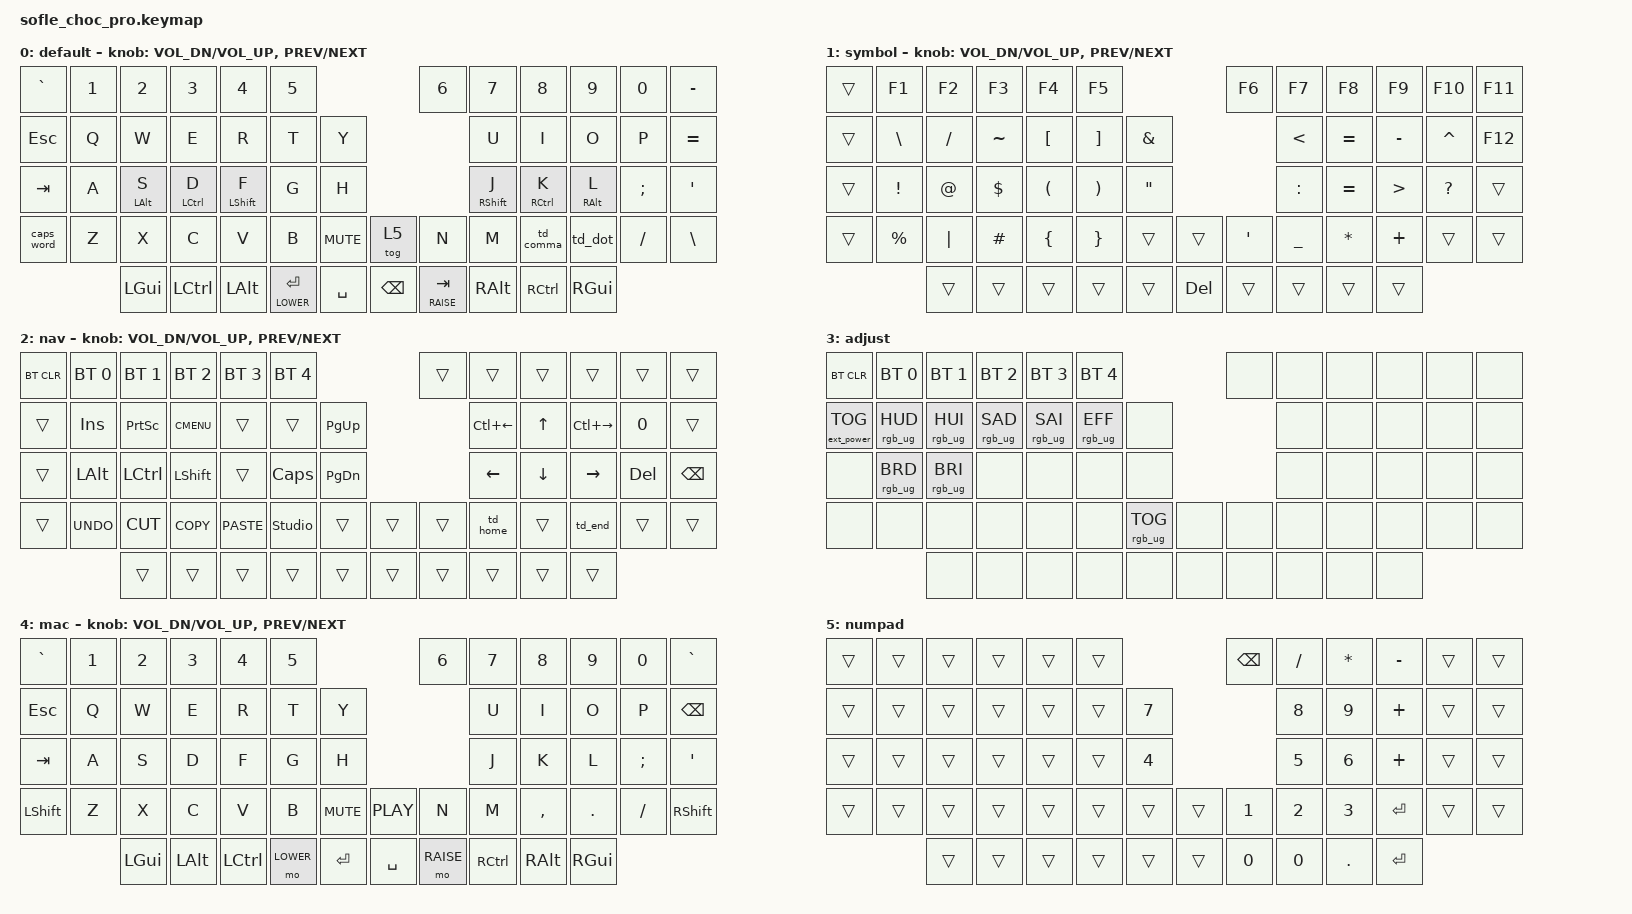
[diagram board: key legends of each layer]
/*
* Copyright (c) 2020 The ZMK Contributors
*
* SPDX-License-Identifier: MIT
*/

#include <behaviors.dtsi>
#include <dt-bindings/zmk/bt.h>
#include <dt-bindings/zmk/ext_power.h>
#include <dt-bindings/zmk/keys.h>
#include <dt-bindings/zmk/rgb.h>

#define BASE 0
#define LOWER 1
#define RAISE 2
#define ADJUST 3
#define MAC 4
#define EXTRA 5

/ {
    // Activate ADJUST layer by pressing raise and lower

    conditional_layers {
        compatible = "zmk,conditional-layers";

        adjust_layer {
            if-layers = <LOWER RAISE>;
            then-layer = <ADJUST>;
        };
    };

    macros {
        m_dot_space: m_dot_space {
            compatible = "zmk,behavior-macro";
            #binding-cells = <0>;
            bindings = <&kp DOT &kp SPACE>;
            label = "M_DOT_SPACE";
        };

        m_comma_space: m_comma_space {
            compatible = "zmk,behavior-macro";
            #binding-cells = <0>;
            bindings = <&kp COMMA &kp SPACE>;
            label = "M_COMMA_SPACE";
        };

        m_home: m_home {
            compatible = "zmk,behavior-macro";
            #binding-cells = <0>;
            bindings = <&kp LC(HOME)>;
            label = "M_HOME";
        };

        m_end: m_end {
            compatible = "zmk,behavior-macro";
            #binding-cells = <0>;
            bindings = <&kp LC(END)>;
            label = "M_END";
        };
    };

    behaviors {
        td_dot: td_dot {
            compatible = "zmk,behavior-tap-dance";
            label = "TD_DOT";
            #binding-cells = <0>;
            bindings = <&kp PERIOD>, <&m_dot_space>;
        };

        td_comma: td_comma {
            compatible = "zmk,behavior-tap-dance";
            label = "TD_COMMA";
            #binding-cells = <0>;
            bindings = <&kp PERIOD>, <&m_comma_space>;
        };

        td_home: td_home {
            compatible = "zmk,behavior-tap-dance";
            label = "TD_HOME";
            #binding-cells = <0>;
            bindings = <&kp HOME>, <&m_home>;
        };

        td_end: td_end {
            compatible = "zmk,behavior-tap-dance";
            label = "TD_END";
            #binding-cells = <0>;
            bindings = <&kp END>, <&m_end>;
        };
    };

    keymap {
        compatible = "zmk,keymap";

        default_layer {
            display-name = "default";

            // ------------------------------------------------------------------------------------------------------------
            // |   `   |  1  |  2  |  3   |  4   |  5   |                   |  6   |  7    |  8    |  9   |   0   |   `   |
            // |  ESC  |  Q  |  W  |  E   |  R   |  T   |                   |  Y   |  U    |  I    |  O   |   P   | BKSPC |
            // |  TAB  |  A  |  S  |  D   |  F   |  G   |                   |  H   |  J    |  K    |  L   |   ;   |   '   |
            // | SHIFT |  Z  |  X  |  C   |  V   |  B   |  MUTE  |  | PLAY  |  N   |  M    |  ,    |  .   |   /   | SHIFT |
            //               | GUI | ALT  | CTRL | LOWER|  ENTER |  | SPACE | RAISE| CTRL  | ALT   | GUI  |

            bindings = <
&kp GRAVE   &kp N1  &kp N2          &kp N3              &kp N4            &kp N5                                      &kp N6         &kp N7             &kp N8               &kp N9           &kp N0    &kp MINUS
&kp ESC     &kp Q   &kp W           &kp E               &kp R             &kp T            &kp Y                                     &kp U              &kp I                &kp O            &kp P     &kp EQUAL
&kp TAB     &kp A   &mt LEFT_ALT S  &mt LEFT_CONTROL D  &mt LEFT_SHIFT F  &kp G            &kp H                                     &mt RIGHT_SHIFT J  &mt RIGHT_CONTROL K  &mt RIGHT_ALT L  &kp SEMI  &kp SQT
&caps_word  &kp Z   &kp X           &kp C               &kp V             &kp B            &kp C_MUTE  &tog 5         &kp N          &kp M              &td_comma            &td_dot          &kp FSLH  &kp BACKSLASH
                    &kp LGUI        &kp LEFT_CONTROL    &kp LEFT_ALT      &lt LOWER ENTER  &kp SPACE   &kp BACKSPACE  &lt RAISE TAB  &kp RIGHT_ALT      &kp RIGHT_CONTROL    &kp RGUI
            >;

            sensor-bindings = <&inc_dec_kp C_VOL_DN C_VOL_UP &inc_dec_kp C_PREV C_NEXT>;
        };

        lower_layer {
            display-name = "symbol";

            // ------------------------------------------------------------------------------------------------------------
            // |       |  F1 |  F2 |  F3  |  F4  |  F5  |                   |  F6  |  F7   |  F8   |  F9  |  F10  |  F11  |
            // |   `   |  1  |  2  |  3   |  4   |  5   |                   |  6   |  7    |  8    |  9   |   0   |  F12  |
            // |       |  !  |  @  |  #   |  $   |  %   |                   |  ^   |  &    |  *    |  (   |   )   |   |   |
            // |       |  =  |  -  |  +   |  {   |  }   |        |  |       |  [   |  ]    |  ;    |  :   |   \   |       |
            //               |     |      |      |      |        |  |       |      |       |       |      |

            bindings = <
&trans  &kp F1         &kp F2     &kp F3      &kp F4                &kp F5                                             &kp F6            &kp F7          &kp F8     &kp F9            &kp F10       &kp F11
&trans  &kp BACKSLASH  &kp SLASH  &kp TILDE   &kp LEFT_BRACKET      &kp RIGHT_BRACKET      &kp AMPERSAND                                 &kp LESS_THAN   &kp EQUAL  &kp MINUS         &kp CARET     &kp F12
&trans  &kp EXCL       &kp AT     &kp DOLLAR  &kp LEFT_PARENTHESIS  &kp RIGHT_PARENTHESIS  &kp DOUBLE_QUOTES                             &kp COLON       &kp EQUAL  &kp GREATER_THAN  &kp QUESTION  &trans
&trans  &kp PERCENT    &kp PIPE   &kp POUND   &kp LBRC              &kp RBRC               &trans             &trans   &kp SINGLE_QUOTE  &kp UNDERSCORE  &kp ASTRK  &kp PLUS          &trans        &trans
                       &trans     &trans      &trans                &trans                 &trans             &kp DEL  &trans            &trans          &trans     &trans
            >;

            sensor-bindings = <&inc_dec_kp C_VOL_DN C_VOL_UP &inc_dec_kp C_PREV C_NEXT>;
        };

        raise_layer {
            display-name = "nav";

            // ------------------------------------------------------------------------------------------------------------
            // | BTCLR | BT1  | BT2  |  BT3  |  BT4  |  BT5 |                |      |      |       |      |       |       |
            // |       | INS  | PSCR | GUI   |       |      |                | PGUP |      |   ^   |      |       |       |
            // |       | ALT  | CTRL | SHIFT |       | CAPS |                | PGDN |   <- |   v   |  ->  |  DEL  | BKSPC |
            // |       | UNDO | CUT  | COPY  | PASTE |      |      |  |      |      |      |       |      |       |       |
            //                |      |       |       |      |      |  |      |      |      |       |      |

            bindings = <
&bt BT_CLR  &bt BT_SEL 0  &bt BT_SEL 1  &bt BT_SEL 2  &bt BT_SEL 3  &bt BT_SEL 4                       &trans  &trans        &trans    &trans         &trans   &trans
&trans      &kp INS       &kp PSCRN     &kp K_CMENU   &trans        &trans          &kp PG_UP                  &kp LC(LEFT)  &kp UP    &kp LC(RIGHT)  &kp N0   &trans
&trans      &kp LALT      &kp LCTRL     &kp LSHFT     &trans        &kp CLCK        &kp PG_DN                  &kp LEFT      &kp DOWN  &kp RIGHT      &kp DEL  &kp BSPC
&trans      &kp K_UNDO    &kp K_CUT     &kp K_COPY    &kp K_PASTE   &studio_unlock  &trans     &trans  &trans  &td_home      &trans    &td_end        &trans   &trans
                          &trans        &trans        &trans        &trans          &trans     &trans  &trans  &trans        &trans    &trans
            >;

            sensor-bindings = <&inc_dec_kp C_VOL_DN C_VOL_UP &inc_dec_kp C_PREV C_NEXT>;
        };

        adjust_layer {
            // ----------------------------------------------------------------------------------------------------------------------------
            // | BTCLR  |  BT1    |  BT2    |   BT3   |   BT4   |   BT5   |                  |      |      |       |      |       |       |
            // | EXTPWR | RGB_HUD | RGB_HUI | RGB_SAD | RGB_SAI | RGB_EFF |                  |      |      |       |      |       |       |
            // |        | RGB_BRD | RGB_BRI |         |         |         |                  |      |      |       |      |       |       |
            // |        |         |         |         |         |         | RGB_TOG | |      |      |      |       |      |       |       |
            //                    |         |         |         |         |         | |      |      |      |       |      |

            display-name = "adjust";
            bindings = <
&bt BT_CLR         &bt BT_SEL 0     &bt BT_SEL 1     &bt BT_SEL 2     &bt BT_SEL 3     &bt BT_SEL 4                             &none  &none  &none  &none  &none  &none
&ext_power EP_TOG  &rgb_ug RGB_HUD  &rgb_ug RGB_HUI  &rgb_ug RGB_SAD  &rgb_ug RGB_SAI  &rgb_ug RGB_EFF  &none                          &none  &none  &none  &none  &none
&none              &rgb_ug RGB_BRD  &rgb_ug RGB_BRI  &none            &none            &none            &none                          &none  &none  &none  &none  &none
&none              &none            &none            &none            &none            &none            &rgb_ug RGB_TOG  &none  &none  &none  &none  &none  &none  &none
                                    &none            &none            &none            &none            &none            &none  &none  &none  &none  &none
            >;
        };

        mac_layer {
            display-name = "mac";

            // ------------------------------------------------------------------------------------------------------------
            // |   `   |  1  |  2  |  3   |  4   |  5   |                   |  6   |  7    |  8    |  9   |   0   |   `   |
            // |  ESC  |  Q  |  W  |  E   |  R   |  T   |                   |  Y   |  U    |  I    |  O   |   P   | BKSPC |
            // |  TAB  |  A  |  S  |  D   |  F   |  G   |                   |  H   |  J    |  K    |  L   |   ;   |   '   |
            // | SHIFT |  Z  |  X  |  C   |  V   |  B   |  MUTE  |  | PLAY  |  N   |  M    |  ,    |  .   |   /   | SHIFT |
            //               | GUI | ALT  | CTRL | LOWER|  ENTER |  | SPACE | RAISE| CTRL  | ALT   | GUI  |

            bindings = <
&kp GRAVE  &kp N1  &kp N2    &kp N3    &kp N4     &kp N5                             &kp N6     &kp N7     &kp N8     &kp N9    &kp N0    &kp GRAVE
&kp ESC    &kp Q   &kp W     &kp E     &kp R      &kp T      &kp Y                              &kp U      &kp I      &kp O     &kp P     &kp BSPC
&kp TAB    &kp A   &kp S     &kp D     &kp F      &kp G      &kp H                              &kp J      &kp K      &kp L     &kp SEMI  &kp SQT
&kp LSHFT  &kp Z   &kp X     &kp C     &kp V      &kp B      &kp C_MUTE  &kp C_PLAY  &kp N      &kp M      &kp COMMA  &kp DOT   &kp FSLH  &kp RSHFT
                   &kp LGUI  &kp LALT  &kp LCTRL  &mo LOWER  &kp RET     &kp SPACE   &mo RAISE  &kp RCTRL  &kp RALT   &kp RGUI
            >;

            sensor-bindings = <&inc_dec_kp C_VOL_DN C_VOL_UP &inc_dec_kp C_PREV C_NEXT>;
        };

        numpad {
            bindings = <
&trans  &trans  &trans  &trans  &trans  &trans                  &kp BSPC  &kp FSLH  &kp STAR  &kp MINUS  &trans  &trans
&trans  &trans  &trans  &trans  &trans  &trans  &kp N7                    &kp N8    &kp N9    &kp PLUS   &trans  &trans
&trans  &trans  &trans  &trans  &trans  &trans  &kp N4                    &kp N5    &kp N6    &kp PLUS   &trans  &trans
&trans  &trans  &trans  &trans  &trans  &trans  &trans  &trans  &kp N1    &kp N2    &kp N3    &kp ENTER  &trans  &trans
                &trans  &trans  &trans  &trans  &trans  &trans  &kp N0    &kp N0    &kp DOT   &kp ENTER
            >;
        };
    };
};
